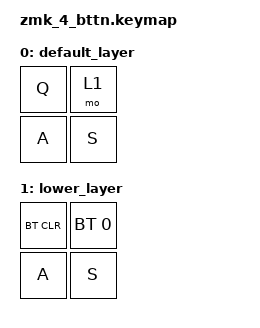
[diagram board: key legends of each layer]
/*
 * Copyright (c) 2022 The ZMK Contributors
 *
 * SPDX-License-Identifier: MIT
 */

#include <behaviors.dtsi>
#include <dt-bindings/zmk/keys.h>
#include <dt-bindings/zmk/bt.h>

/ {
    keymap {
        compatible = "zmk,keymap";

        default_layer {
            bindings = <
                &kp Q &mo 1
                &kp A &kp S
            >;
        };
        lower_layer {
            bindings = <
                &bt BT_CLR &bt BT_SEL 0
                &kp A &kp S
            >;
        };
    };
};

